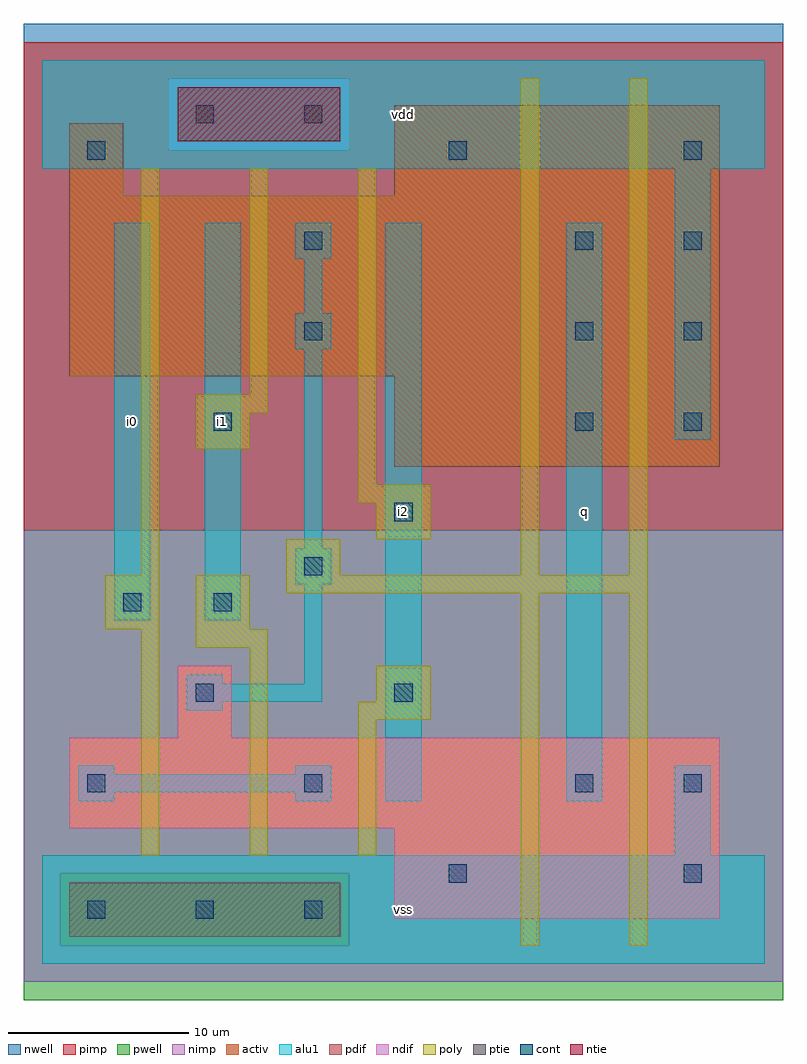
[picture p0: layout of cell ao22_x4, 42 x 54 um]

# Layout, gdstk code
import gdstk
lib = gdstk.Library(unit=1e-6, precision=1e-09)
def R(c, l, rs):  # rectangles x0, y0, x1, y1
    for r in rs: c.add(gdstk.rectangle(r[:2], r[2:], *l))
def A(c, l, x, y, w, h, nx, ny, dx, dy):  # array of equal rectangles
    R(c, l, [(x+i*dx, y+j*dy, x+i*dx+w, y+j*dy+h) for i in range(nx) for j in range(ny)])
ndif = (3, 0)
pdif = (4, 0)
ntie = (5, 0)
ptie = (6, 0)
cont = (25, 0)
pwell = (41, 0)
nwell = (42, 0)
activ = (43, 0)
pimp = (44, 0)
nimp = (45, 0)
poly = (46, 0)
alu1 = (49, 0)

ao22_x4 = lib.new_cell('ao22_x4')
R(ao22_x4, ndif, [(19.5,2.5,37.5,7.5), (1.5,7.5,37.5,12.5), (7.5,12.5,10.5,16.5)])
R(ao22_x4, pdif, [(19.5,27.5,37.5,32.5), (1.5,32.5,37.5,42.5), (1.5,42.5,4.5,46.5), (19.5,42.5,37.5,47.5)])
R(ao22_x4, ntie, [(7.5,45.5,16.5,48.5)])
R(ao22_x4, ptie, [(1.5,1.5,16.5,4.5)])
A(ao22_x4, cont, 2.5, 2.5, 1, 1, 3, 1, 6, 0)
A(ao22_x4, cont, 29.5, 29.5, 1, 1, 1, 3, 0, 5)
A(ao22_x4, cont, 35.5, 29.5, 1, 1, 1, 4, 0, 5)
R(ao22_x4, cont, [(22.5,4.5,23.5,5.5), (35.5,4.5,36.5,5.5), (2.5,9.5,3.5,10.5), (14.5,9.5,15.5,10.5), (29.5,9.5,30.5,10.5), (35.5,9.5,36.5,10.5), (8.5,14.5,9.5,15.5), (19.5,14.5,20.5,15.5), (4.5,19.5,5.5,20.5), (9.5,19.5,10.5,20.5), (14.5,21.5,15.5,22.5), (19.5,24.5,20.5,25.5), (9.5,29.5,10.5,30.5), (14.5,34.5,15.5,35.5), (14.5,39.5,15.5,40.5), (2.5,44.5,3.5,45.5), (22.5,44.5,23.5,45.5), (8.5,46.5,9.5,47.5), (14.5,46.5,15.5,47.5)])
R(ao22_x4, pwell, [(-1,-2,41,24)])
R(ao22_x4, nwell, [(-1,24,41,52)])
R(ao22_x4, activ, [(1.5,1.5,16.5,4.5), (19.5,2.5,37.5,7.5), (1.5,7.5,37.5,12.5), (7.5,12.5,10.5,16.5), (19.5,27.5,37.5,32.5), (1.5,32.5,37.5,42.5), (1.5,42.5,4.5,46.5), (19.5,42.5,37.5,47.5), (7.5,45.5,16.5,48.5)])
R(ao22_x4, pimp, [(1,1,17,5), (-1,24,41,45), (-1,45,7,49), (17,45,41,49), (-1,49,41,51)])
R(ao22_x4, nimp, [(-1,-1,41,1), (-1,1,1,5), (17,1,41,5), (-1,5,41,24), (7,45,17,49)])
R(ao22_x4, poly, [(26.5,1,27.5,20.5), (32.5,1,33.5,20.5), (5.5,6,6.5,18.5), (11.5,6,12.5,17.5), (17.5,6,18.5,13.5), (17.5,13.5,21.5,14.5), (18.5,14.5,21.5,16.5), (8.5,17.5,12.5,18.5), (3.5,18.5,6.5,21.5), (8.5,18.5,11.5,21.5), (13.5,20.5,33.5,21.5), (5.5,21.5,6.5,44), (13.5,21.5,16.5,23.5), (26.5,21.5,27.5,49), (32.5,21.5,33.5,49), (18.5,23.5,21.5,25.5), (17.5,25.5,21.5,26.5), (17.5,26.5,18.5,44), (8.5,28.5,11.5,30.5), (8.5,30.5,12.5,31.5), (11.5,31.5,12.5,44)])
R(ao22_x4, alu1, [(0,0,40,6), (35,6,37,11), (2,9,4,9.5), (14,9,16,9.5), (19,9,21,41), (29,9,31,41), (2,9.5,16,10.5), (2,10.5,4,11), (14,10.5,16,11), (8,14,10,14.5), (8,14.5,15.5,15.5), (8,15.5,10,16), (14.5,15.5,15.5,21), (4,19,6,41), (9,19,11,41), (14,21,16,23), (14.5,23,15.5,34), (35,29,37,44), (14,34,16,36), (14.5,36,15.5,39), (14,39,16,41), (0,44,40,50)])
ao22_x4.add(gdstk.Label('i0', (5,30), layer=49, texttype=0))
ao22_x4.add(gdstk.Label('i1', (10,30), layer=49, texttype=0))
ao22_x4.add(gdstk.Label('vss', (20,3), layer=49, texttype=0))
ao22_x4.add(gdstk.Label('i2', (20,25), layer=49, texttype=0))
ao22_x4.add(gdstk.Label('vdd', (20,47), layer=49, texttype=0))
ao22_x4.add(gdstk.Label('q', (30,25), layer=49, texttype=0))

lib.write_gds('ao22_x4.gds')
